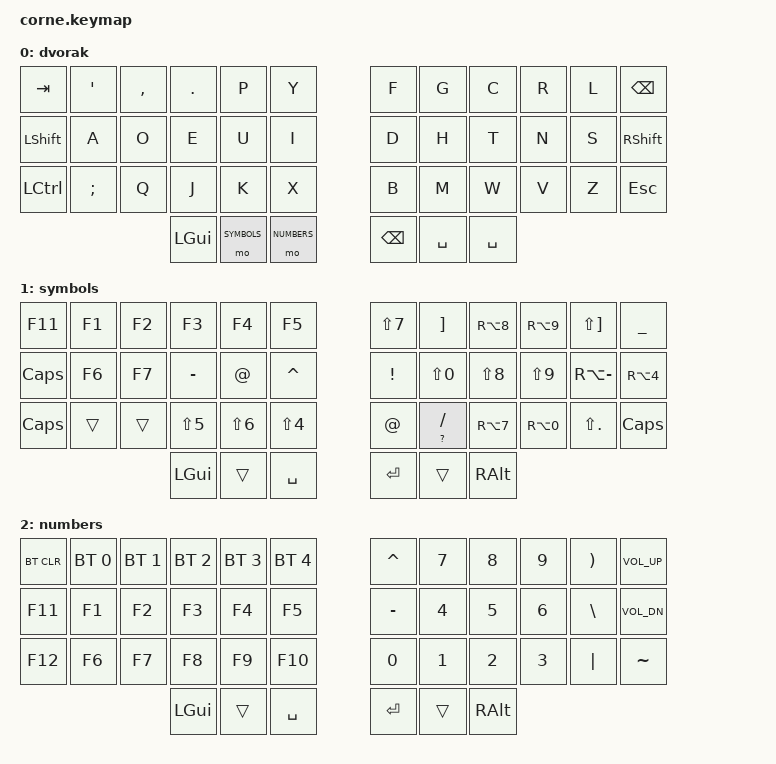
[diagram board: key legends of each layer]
/*
 * Copyright (c) 2020 The ZMK Contributors
 *
 * SPDX-License-Identifier: MIT
 */

#include <behaviors.dtsi>
#include <dt-bindings/zmk/keys.h>
#include <dt-bindings/zmk/bt.h>
#include <dt-bindings/zmk/ext_power.h>
#include <dt-bindings/zmk/outputs.h>

#define DVORAK 0
#define SYMBOLS 1
#define NUMBERS 2
#define ADJUST 3

/ {
    combos {
        compatible = "zmk,combos";
        combo_backspace {
            timeout-ms = <30>;
            key-positions = <19 20>;
            bindings = <&kp BKSP>;
        };
        combo_supr {
            timeout-ms = <30>;
            key-positions = <17 18>;
            bindings = <&kp BKSP>;
        };
        combo_ret {
            timeout-ms = <20>;
            key-positions = <20 21>;
            bindings = <&kp RET>;
        };
        combo_tab {
            timeout-ms = <30>;
            key-positions = <16 17>;
            bindings = <&kp LS(TAB)>;
        };
        combo_rev_tab {
            timeout-ms = <30>;
            key-positions = <13 14>;
            bindings = <&kp TAB>;
        };
        combo_undo {
            timeout-ms = <50>;
            key-positions = <24 25>;
            bindings = <&kp LC(Z)>;
        };
        combo_redo {
            timeout-ms = <50>;
            key-positions = <25 26>;
            bindings = <&kp LC(Y)>;
        };
        combo_copy {
            timeout-ms = <50>;
            key-positions = <26 27>;
            bindings = <&kp LC(C)>;
        };
        combo_paste {
            timeout-ms = <50>;
            key-positions = <27 28>;
            bindings = <&kp LC(V)>;
        };
        combo_save {
            timeout-ms = <50>;
            key-positions = <29 30>;
            bindings = <&kp LC(S)>;
        };
        combo_up {
            timeout-ms = <50>;
            key-positions = <8 9>;
            bindings = <&kp UP>;
        };
        combo_down {
            timeout-ms = <50>;
            key-positions = <32 33>;
            bindings = <&kp DOWN>;
        };
        combo_left {
            timeout-ms = <50>;
            key-positions = <18 19>;
            bindings = <&kp LEFT>;
        };
        combo_right {
            timeout-ms = <50>;
            key-positions = <21 22>;
            bindings = <&kp RIGHT>;
        };
    };
};


/ {
        keymap {
                compatible = "zmk,keymap";

                default_layer {
                        display-name = "dvorak";
// -----------------------------------------------------------------------------------------
// |  TAB |  Q  |  W  |  E  |  R  |  T  |   |  Y  |  U   |  I  |  O  |  P  | BSPC |
// | CTRL |  A  |  S  |  D  |  F  |  G  |   |  H  |  J   |  K  |  L  |  ;  |  '   |
// | SHFT |  Z  |  X  |  C  |  V  |  B  |   |  N  |  M   |  ,  |  .  |  /  | ESC  |
//                    | GUI | LWR | SPC |   | ENT | RSE  | ALT |
                        bindings = <
   &kp TAB   &kp SQT  &kp COMMA  &kp DOT  &kp P     &kp Y          &kp F     &kp G  &kp C     &kp R    &kp L    &kp BSPC
   &kp LSHFT &kp A    &kp O      &kp E    &kp U     &kp I          &kp D     &kp H  &kp T     &kp N    &kp S    &kp RSHFT
   &kp LCTRL &kp SEMI &kp Q      &kp J    &kp K     &kp X          &kp B     &kp M  &kp W     &kp V    &kp Z    &kp ESC
                  &kp LGUI &mo SYMBOLS &mo NUMBERS   &kp BSPC &kp SPACE &kp SPACE
                        >;
                };
                lower_layer {
                        display-name = "symbols";
// -----------------------------------------------------------------------------------------
// |  TAB |  1  |  2  |  3  |  4  |  5  |   |  6  |  7  |  8  |  9  |  0  | BSPC |
// | BTCLR| BT1 | BT2 | BT3 | BT4 | BT5 |   | LFT | DWN |  UP | RGT |     |      |
// | SHFT |     |     |     |     |     |   |     |     |     |     |     |      |
//                    | GUI |     | SPC |   | ENT |     | ALT |
                        bindings = <
   &kp F11   &kp F1   &kp F2   &kp F3     &kp F4       &kp F5      &kp LS(N7)  &kp RBKT  &kp RA(N8)     &kp RA(N9)   &kp LS(RBKT)    &kp UNDER
   &kp CAPS   &kp F6   &kp F7   &kp MINUS  &kp AT_SIGN  &kp CARET     &kp EXCL    &kp LS(N0)  &kp LS(N8)   &kp LS(N9)    &kp RA(MINUS) &kp RA(N4)
   &kp CAPS  &trans   &trans   &kp LS(N5)     &kp LS(N6)       &kp LS(4)     &kp AT_SIGN &mt QUESTION SLASH  &kp RA(N7) &kp RA(N0)  &kp LS(DOT) &kp CAPS
                                    &kp LGUI     &trans       &kp SPACE      &kp RET  &trans   &kp RALT
                        >;
                };

                raise_layer {
                        display-name = "numbers";
// -----------------------------------------------------------------------------------------
// |  TAB |  !  |  @  |  #  |  $  |  %  |   |  ^  |  &  |  *  |  (  |  )  | BSPC |
// | CTRL |     |     |     |     |     |   |  -  |  =  |  [  |  ]  |  \  |  `   |
// | SHFT |     |     |     |     |     |   |  _  |  +  |  {  |  }  | "|" |  ~   |
//                    | GUI |     | SPC |   | ENT |     | ALT |
                        bindings = <
   &bt BT_CLR &bt BT_SEL 0 &bt BT_SEL 1 &bt BT_SEL 2 &bt BT_SEL 3 &bt BT_SEL 4       &kp CARET &kp N7  &kp N8 &kp N9 &kp RPAR &kp K_VOL_UP
   &kp F11  &kp F1   &kp F2   &kp F3 &kp F4   &kp F5      &kp MINUS &kp N4 &kp N5  &kp N6 &kp BSLH &kp K_VOL_DN
   &kp F12  &kp F6    &kp F7 &kp F8  &kp F9    &kp F10        &kp N0 &kp N1  &kp N2  &kp N3 &kp PIPE &kp TILDE
                             &kp LGUI &trans   &kp SPACE   &kp RET   &trans    &kp RALT
                        >;
                };
        };
};
